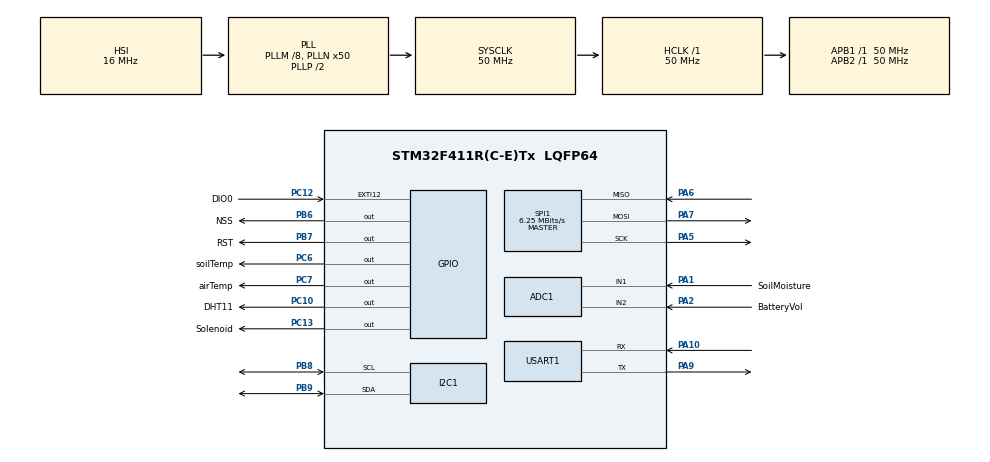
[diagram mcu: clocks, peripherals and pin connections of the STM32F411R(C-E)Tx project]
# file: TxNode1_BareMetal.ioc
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ADC1.Channel-0\#ChannelRegularConversion=ADC_CHANNEL_1
ADC1.Channel-3\#ChannelRegularConversion=ADC_CHANNEL_2
ADC1.ContinuousConvMode=ENABLE
ADC1.NbrOfConversion=2
ADC1.NbrOfConversionFlag=1
ADC1.Rank-3\#ChannelRegularConversion=2
ADC1.SamplingTime-3\#ChannelRegularConversion=ADC_SAMPLETIME_3CYCLES
ADC1.ScanConvMode=ENABLE
ADC1.master=1
Mcu.Family=STM32F4
Mcu.Name=STM32F411R(C-E)Tx
Mcu.Package=LQFP64
NVIC.PriorityGroup=NVIC_PRIORITYGROUP_4
PA1.GPIO_Label=SoilMoisture
PA1.Signal=ADCx_IN1
PA10.Mode=Asynchronous
PA10.Signal=USART1_RX
PA13.Mode=Serial_Wire
PA13.Signal=SYS_JTMS-SWDIO
PA14.Mode=Serial_Wire
PA14.Signal=SYS_JTCK-SWCLK
PA2.GPIO_Label=BatteryVol
PA2.Signal=ADCx_IN2
PA5.Mode=Full_Duplex_Master
PA5.Signal=SPI1_SCK
PA6.Mode=Full_Duplex_Master
PA6.Signal=SPI1_MISO
PA7.Mode=Full_Duplex_Master
PA7.Signal=SPI1_MOSI
PA9.Mode=Asynchronous
PA9.Signal=USART1_TX
PB6.GPIO_Label=NSS
PB6.PinState=GPIO_PIN_SET
PB6.Signal=GPIO_Output
PB7.GPIO_Label=RST
PB7.PinState=GPIO_PIN_SET
PB7.Signal=GPIO_Output
PB8.Mode=I2C
PB8.Signal=I2C1_SCL
PB9.Mode=I2C
PB9.Signal=I2C1_SDA
PC10.GPIO_Label=DHT11
PC10.Signal=GPIO_Output
PC12.GPIO_Label=DIO0
PC12.Signal=GPXTI12
PC13-ANTI_TAMP.GPIO_Label=Solenoid
PC13-ANTI_TAMP.Signal=GPIO_Output
PC6.GPIO_Label=soilTemp
PC6.Signal=GPIO_Output
PC7.GPIO_Label=airTemp
PC7.Signal=GPIO_Output
PH0\ -\ OSC_IN.Mode=HSE-External-Oscillator
PH0\ -\ OSC_IN.Signal=RCC_OSC_IN
PH1\ -\ OSC_OUT.Mode=HSE-External-Oscillator
PH1\ -\ OSC_OUT.Signal=RCC_OSC_OUT
ProjectManager.HeapSize=0x200
ProjectManager.StackSize=0x400
ProjectManager.TargetToolchain=STM32CubeIDE
RCC.48MHZClocksFreq_Value=25000000
RCC.AHBFreq_Value=50000000
RCC.APB1Freq_Value=50000000
RCC.APB1TimFreq_Value=50000000
RCC.APB2Freq_Value=50000000
RCC.APB2TimFreq_Value=50000000
RCC.CortexFreq_Value=50000000
RCC.HCLKFreq_Value=50000000
RCC.HSE_VALUE=25000000
RCC.HSI_VALUE=16000000
RCC.PLLM=8
RCC.PLLN=50
RCC.SYSCLKFreq_VALUE=50000000
RCC.SYSCLKSource=RCC_SYSCLKSOURCE_PLLCLK
RCC.VCOOutputFreq_Value=100000000
SH.ADCx_IN1.0=ADC1_IN1,IN1
SH.ADCx_IN2.0=ADC1_IN2,IN2
SPI1.BaudRatePrescaler=SPI_BAUDRATEPRESCALER_8
SPI1.CalculateBaudRate=6.25 MBits/s
SPI1.Direction=SPI_DIRECTION_2LINES
SPI1.Mode=SPI_MODE_MASTER
SPI1.VirtualType=VM_MASTER
TIM1.Period=0xffff-1
TIM1.Prescaler=50-1
USART1.VirtualMode=VM_ASYNC
VP_TIM1_VS_ClockSourceINT.Mode=Internal
board=custom

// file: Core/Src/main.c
/* USER CODE BEGIN Header */
/**
  ******************************************************************************
  * @file           : main.c
  * @brief          : Main program body
  ******************************************************************************
  * @attention
  *
  * Copyright (c) 2022 STMicroelectronics.
  * All rights reserved.
  *
  * This software is licensed under terms that can be found in the LICENSE file
  * in the root directory of this software component.
  * If no LICENSE file comes with this software, it is provided AS-IS.
  *
  ******************************************************************************
  */
/* USER CODE END Header */
#include "main.h"

/* USER CODE BEGIN Includes */
#include "farmTask.h"
#include "LoRa.h"
#include "liquidcrystal_i2c.h"
/* USER CODE END Includes */

ADC_HandleTypeDef hadc1;

I2C_HandleTypeDef hi2c1;

SPI_HandleTypeDef hspi1;

TIM_HandleTypeDef htim1;

UART_HandleTypeDef huart1;

/* USER CODE BEGIN PV */
LoRa myLoRa;
uint8_t read_data;
uint8_t send_add;
//uint8_t send_data[16];
//int RSSI;

uint8_t soiltempSensor,soilmoistSensor, airtempSensor,airhumiditySensor,batterySensor;

/* USER CODE END PV */

void SystemClock_Config(void);
static void MX_GPIO_Init(void);
static void MX_ADC1_Init(void);
static void MX_I2C1_Init(void);
static void MX_SPI1_Init(void);
static void MX_TIM1_Init(void);
static void MX_USART1_UART_Init(void);

/* USER CODE BEGIN 0 */
/********************** SELECT ADC CHANNELS ********************************************/
void selectADC1()
{
	 ADC_ChannelConfTypeDef sConfig = {0};
	/** Configure for the selected ADC regular channel its corresponding rank in the sequencer and its sample time.
	  */
	  sConfig.Channel = ADC_CHANNEL_1;
	  sConfig.Rank = 1;
	  sConfig.SamplingTime = ADC_SAMPLETIME_3CYCLES;
	  if (HAL_ADC_ConfigChannel(&hadc1, &sConfig) != HAL_OK)
	  {
	    Error_Handler();
	  }
}

void selectADC2()
{
	 ADC_ChannelConfTypeDef sConfig = {0};
	 /** Configure for the selected ADC regular channel its corresponding rank in the sequencer and its sample time.
	  */
	  sConfig.Channel = ADC_CHANNEL_2;
	  sConfig.Rank = 1;
	  sConfig.SamplingTime = ADC_SAMPLETIME_3CYCLES;
	  if (HAL_ADC_ConfigChannel(&hadc1, &sConfig) != HAL_OK)
	  {
	    Error_Handler();
	  }
}

/* USER CODE END 0 */

int main(void)
{

  /* MCU Configuration--------------------------------------------------------*/

  /* Reset of all peripherals, Initializes the Flash interface and the Systick. */
  HAL_Init();

  /* Configure the system clock */
  SystemClock_Config();

  /* Initialize all configured peripherals */
  MX_GPIO_Init();
  MX_ADC1_Init();
  MX_I2C1_Init();
  MX_SPI1_Init();
  MX_TIM1_Init();
  MX_USART1_UART_Init();

  /* USER CODE BEGIN 2 */
  HAL_TIM_Base_Start(&htim1);
  /**************** LCD INITIALIZATION ************************/
  lcd_Init(2);
  lcd_Clear();
  lcd_SetCursor(0,0);
  lcd_PrintStr("LCD Initializing...");

  HAL_Delay(1000);

  /************************************************************/
 // STARTING LORA ************************************************
 // MODULE SETTINGS ----------------------------------------------
	myLoRa = newLoRa();

	myLoRa.hSPIx                 = &hspi1;
	myLoRa.CS_port               = NSS_GPIO_Port;
	myLoRa.CS_pin                = NSS_Pin;
	myLoRa.reset_port            = RST_GPIO_Port;
	myLoRa.reset_pin             = RST_Pin;
	myLoRa.DIO0_port			 = DIO0_GPIO_Port;
	myLoRa.DIO0_pin				 = DIO0_Pin;

	myLoRa.frequency             = 433;							 	// default = 433 MHz
	myLoRa.spredingFactor        = SF_7;							// default = SF_7
	myLoRa.bandWidth			 = BW_125KHz;				 		// default = BW_125KHz
	myLoRa.crcRate				 = CR_4_5;							// default = CR_4_5
	myLoRa.power				 = POWER_20db;						// default = 20db
	myLoRa.overCurrentProtection = 120; 							// default = 100 mA
	myLoRa.preamble				 = 10;		  						// default = 8;

	LoRa_reset(&myLoRa);

	LoRa_init(&myLoRa);

	// START CONTINUOUS RECEIVING -----------------------------------
	LoRa_startReceiving(&myLoRa);
	//---------------------------------------------------------------

  /* USER CODE END 2 */

  /* Infinite loop */
  /* USER CODE BEGIN WHILE */
  while (1)
  {
   	// SENDING DATA - - - - - - - - - - - - - - - - - - - - - - - - -

	//send_data[0] = 0x3B; 					// MY ADDRESS
	//send_data[0] = 0xBB; 					// MY ADDRESS
//	 send_data[0] = 0xFF; 					// MY ADDRESS
//	 send_data[1] = '@';
//	 send_data[2] = 1;
//	 send_data[3] = soilMoist_Task ();
//	 send_data[4] = '@';
//
//	 send_data[5] = 2;
//	 send_data[6] = soilTemp_Task ();
//	 send_data[7] = '@';
//
//	 send_data[8] = 3;
//	 send_data[9] = humidity_Task ();
//	 send_data[10] = '@';
//
//	 send_data[11] = 4;
//	 send_data[12] = airTemp_Task ();
//	 send_data[13] = '@';
//
//	 send_data[14] = 5;
//	 send_data[15] = battery_Task ();
	 // send_data[16] = '@';

	 send_add = 0xBB; 					// MY ADDRESS
	 soilmoistSensor =  soilMoist_Task ();
	 soiltempSensor = soilTemp_Task ();
	 airtempSensor = humidity_Task ();
	 airhumiditySensor = airTemp_Task ();
	 batterySensor = battery_Task ();

	 LoRa_transmit(&myLoRa, &send_add, 1, TRANSMIT_TIMEOUT);
	 LoRa_transmit(&myLoRa, &soilmoistSensor, 1, TRANSMIT_TIMEOUT);
	 LoRa_transmit(&myLoRa, &soiltempSensor, 1, TRANSMIT_TIMEOUT);
	 LoRa_transmit(&myLoRa, &airtempSensor, 1, TRANSMIT_TIMEOUT);
	 LoRa_transmit(&myLoRa, &airhumiditySensor, 1, TRANSMIT_TIMEOUT);
	 LoRa_transmit(&myLoRa, &batterySensor, 1, TRANSMIT_TIMEOUT);

	 lcd_Clear();
	 lcd_SetCursor(0,0);
	 lcd_PrintStr("Data Transmitted");

	 HAL_Delay(1500);

	// RECEIVING DATA - - - - - - - - - - - - - - - - - - - - - - - -
			//*********************** SWITCH "ON/OFF" SOLENOID VALVE OF NODE_01.**************************

//	LoRa_receive(&myLoRa, &read_data, sizeof(read_data));   (DEFINED IN USER_4 CODE BELOW)
	if (read_data == 1)
	{
		HAL_GPIO_WritePin(GPIOC, GPIO_PIN_13, GPIO_PIN_SET);
	}
	else
	{
		HAL_GPIO_WritePin(GPIOC, GPIO_PIN_13, GPIO_PIN_RESET);
	}

	 /* USER CODE END WHILE */

  }
}

void SystemClock_Config(void)
{
  RCC_OscInitTypeDef RCC_OscInitStruct = {0};
  RCC_ClkInitTypeDef RCC_ClkInitStruct = {0};

  /** Configure the main internal regulator output voltage
  */
  __HAL_RCC_PWR_CLK_ENABLE();
  __HAL_PWR_VOLTAGESCALING_CONFIG(PWR_REGULATOR_VOLTAGE_SCALE1);

  /** Initializes the RCC Oscillators according to the specified parameters
  * in the RCC_OscInitTypeDef structure.
  */
  RCC_OscInitStruct.OscillatorType = RCC_OSCILLATORTYPE_HSI;
  RCC_OscInitStruct.HSIState = RCC_HSI_ON;
  RCC_OscInitStruct.HSICalibrationValue = RCC_HSICALIBRATION_DEFAULT;
  RCC_OscInitStruct.PLL.PLLState = RCC_PLL_ON;
  RCC_OscInitStruct.PLL.PLLSource = RCC_PLLSOURCE_HSI;
  RCC_OscInitStruct.PLL.PLLM = 8;
  RCC_OscInitStruct.PLL.PLLN = 50;
  RCC_OscInitStruct.PLL.PLLP = RCC_PLLP_DIV2;
  RCC_OscInitStruct.PLL.PLLQ = 4;
  if (HAL_RCC_OscConfig(&RCC_OscInitStruct) != HAL_OK)
  {
    Error_Handler();
  }

  /** Initializes the CPU, AHB and APB buses clocks
  */
  RCC_ClkInitStruct.ClockType = RCC_CLOCKTYPE_HCLK|RCC_CLOCKTYPE_SYSCLK
                              |RCC_CLOCKTYPE_PCLK1|RCC_CLOCKTYPE_PCLK2;
  RCC_ClkInitStruct.SYSCLKSource = RCC_SYSCLKSOURCE_PLLCLK;
  RCC_ClkInitStruct.AHBCLKDivider = RCC_SYSCLK_DIV1;
  RCC_ClkInitStruct.APB1CLKDivider = RCC_HCLK_DIV1;
  RCC_ClkInitStruct.APB2CLKDivider = RCC_HCLK_DIV1;

  if (HAL_RCC_ClockConfig(&RCC_ClkInitStruct, FLASH_LATENCY_1) != HAL_OK)
  {
    Error_Handler();
  }
}

static void MX_ADC1_Init(void)
{

 // ADC_ChannelConfTypeDef sConfig = {0};

  /** Configure the global features of the ADC (Clock, Resolution, Data Alignment and number of conversion)
  */
  hadc1.Instance = ADC1;
  hadc1.Init.ClockPrescaler = ADC_CLOCK_SYNC_PCLK_DIV2;
  hadc1.Init.Resolution = ADC_RESOLUTION_12B;
  hadc1.Init.ScanConvMode = ENABLE;
  hadc1.Init.ContinuousConvMode = ENABLE;
  hadc1.Init.DiscontinuousConvMode = DISABLE;
  hadc1.Init.ExternalTrigConvEdge = ADC_EXTERNALTRIGCONVEDGE_NONE;
  hadc1.Init.ExternalTrigConv = ADC_SOFTWARE_START;
  hadc1.Init.DataAlign = ADC_DATAALIGN_RIGHT;
  hadc1.Init.NbrOfConversion = 1;
  hadc1.Init.DMAContinuousRequests = DISABLE;
  hadc1.Init.EOCSelection = ADC_EOC_SINGLE_CONV;
  if (HAL_ADC_Init(&hadc1) != HAL_OK)
  {
    Error_Handler();
  }

}

static void MX_I2C1_Init(void)
{

  hi2c1.Instance = I2C1;
  hi2c1.Init.ClockSpeed = 100000;
  hi2c1.Init.DutyCycle = I2C_DUTYCYCLE_2;
  hi2c1.Init.OwnAddress1 = 0;
  hi2c1.Init.AddressingMode = I2C_ADDRESSINGMODE_7BIT;
  hi2c1.Init.DualAddressMode = I2C_DUALADDRESS_DISABLE;
  hi2c1.Init.OwnAddress2 = 0;
  hi2c1.Init.GeneralCallMode = I2C_GENERALCALL_DISABLE;
  hi2c1.Init.NoStretchMode = I2C_NOSTRETCH_DISABLE;
  if (HAL_I2C_Init(&hi2c1) != HAL_OK)
  {
    Error_Handler();
  }

}

static void MX_SPI1_Init(void)
{

  /* SPI1 parameter configuration*/
  hspi1.Instance = SPI1;
  hspi1.Init.Mode = SPI_MODE_MASTER;
  hspi1.Init.Direction = SPI_DIRECTION_2LINES;
  hspi1.Init.DataSize = SPI_DATASIZE_8BIT;
  hspi1.Init.CLKPolarity = SPI_POLARITY_LOW;
  hspi1.Init.CLKPhase = SPI_PHASE_1EDGE;
  hspi1.Init.NSS = SPI_NSS_SOFT;
  hspi1.Init.BaudRatePrescaler = SPI_BAUDRATEPRESCALER_8;
  hspi1.Init.FirstBit = SPI_FIRSTBIT_MSB;
  hspi1.Init.TIMode = SPI_TIMODE_DISABLE;
  hspi1.Init.CRCCalculation = SPI_CRCCALCULATION_DISABLE;
  hspi1.Init.CRCPolynomial = 10;
  if (HAL_SPI_Init(&hspi1) != HAL_OK)
  {
    Error_Handler();
  }

}

static void MX_TIM1_Init(void)
{

  TIM_ClockConfigTypeDef sClockSourceConfig = {0};
  TIM_MasterConfigTypeDef sMasterConfig = {0};

  htim1.Instance = TIM1;
  htim1.Init.Prescaler = 50-1;
  htim1.Init.CounterMode = TIM_COUNTERMODE_UP;
  htim1.Init.Period = 0xffff-1;
  htim1.Init.ClockDivision = TIM_CLOCKDIVISION_DIV1;
  htim1.Init.RepetitionCounter = 0;
  htim1.Init.AutoReloadPreload = TIM_AUTORELOAD_PRELOAD_DISABLE;
  if (HAL_TIM_Base_Init(&htim1) != HAL_OK)
  {
    Error_Handler();
  }
  sClockSourceConfig.ClockSource = TIM_CLOCKSOURCE_INTERNAL;
  if (HAL_TIM_ConfigClockSource(&htim1, &sClockSourceConfig) != HAL_OK)
  {
    Error_Handler();
  }
  sMasterConfig.MasterOutputTrigger = TIM_TRGO_RESET;
  sMasterConfig.MasterSlaveMode = TIM_MASTERSLAVEMODE_DISABLE;
  if (HAL_TIMEx_MasterConfigSynchronization(&htim1, &sMasterConfig) != HAL_OK)
  {
    Error_Handler();
  }

}

static void MX_USART1_UART_Init(void)
{

  huart1.Instance = USART1;
  huart1.Init.BaudRate = 115200;
  huart1.Init.WordLength = UART_WORDLENGTH_8B;
  huart1.Init.StopBits = UART_STOPBITS_1;
  huart1.Init.Parity = UART_PARITY_NONE;
  huart1.Init.Mode = UART_MODE_TX_RX;
  huart1.Init.HwFlowCtl = UART_HWCONTROL_NONE;
  huart1.Init.OverSampling = UART_OVERSAMPLING_16;
  if (HAL_UART_Init(&huart1) != HAL_OK)
  {
    Error_Handler();
  }

}

static void MX_GPIO_Init(void)
{
  GPIO_InitTypeDef GPIO_InitStruct = {0};

  /* GPIO Ports Clock Enable */
  __HAL_RCC_GPIOC_CLK_ENABLE();
  __HAL_RCC_GPIOH_CLK_ENABLE();
  __HAL_RCC_GPIOA_CLK_ENABLE();
  __HAL_RCC_GPIOB_CLK_ENABLE();

  /*Configure GPIO pin Output Level */
  HAL_GPIO_WritePin(GPIOC, Solenoid_Pin|soilTemp_Pin|airTemp_Pin|DHT11_Pin, GPIO_PIN_RESET);

  /*Configure GPIO pin Output Level */
  HAL_GPIO_WritePin(GPIOB, NSS_Pin|RST_Pin, GPIO_PIN_SET);

  /*Configure GPIO pins : Solenoid_Pin soilTemp_Pin airTemp_Pin DHT11_Pin */
  GPIO_InitStruct.Pin = Solenoid_Pin|soilTemp_Pin|airTemp_Pin|DHT11_Pin;
  GPIO_InitStruct.Mode = GPIO_MODE_OUTPUT_PP;
  GPIO_InitStruct.Pull = GPIO_NOPULL;
  GPIO_InitStruct.Speed = GPIO_SPEED_FREQ_LOW;
  HAL_GPIO_Init(GPIOC, &GPIO_InitStruct);

  /*Configure GPIO pin : DIO0_Pin */
  GPIO_InitStruct.Pin = DIO0_Pin;
  GPIO_InitStruct.Mode = GPIO_MODE_IT_RISING;
  GPIO_InitStruct.Pull = GPIO_NOPULL;
  HAL_GPIO_Init(DIO0_GPIO_Port, &GPIO_InitStruct);

  /*Configure GPIO pins : NSS_Pin RST_Pin */
  GPIO_InitStruct.Pin = NSS_Pin|RST_Pin;
  GPIO_InitStruct.Mode = GPIO_MODE_OUTPUT_PP;
  GPIO_InitStruct.Pull = GPIO_NOPULL;
  GPIO_InitStruct.Speed = GPIO_SPEED_FREQ_LOW;
  HAL_GPIO_Init(GPIOB, &GPIO_InitStruct);

}

//********************************* LORA RECEVIER FUNCTION *******************************
/* USER CODE BEGIN 4 */
void HAL_GPIO_EXTI_Callback(uint16_t GPIO_Pin)
{
  if(GPIO_Pin == DIO0_Pin)
  {
	  LoRa_receive(&myLoRa, &read_data, sizeof(read_data));
  }
}
/* USER CODE END 4 */
//****************************************************************************************

void Error_Handler(void)
{
  __disable_irq();
  while (1)
  {
  }
}
